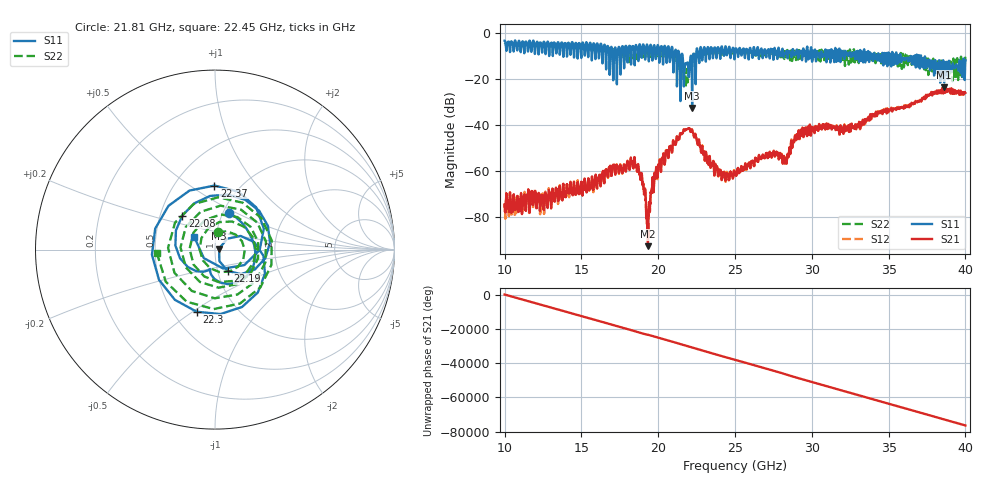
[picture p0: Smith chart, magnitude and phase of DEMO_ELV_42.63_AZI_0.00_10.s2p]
! 11/3/2026 12:50:57 PM
! C:\ANRITSUVNA\TEMP\TEMP.S2P
! CHANNEL.1
! TR.MEASUREMENT
! RAW.DATA
# HZ S RI R 50.0
! FREQ.HZ  S11RE  S11IM  S21RE  S21IM  S12RE  S12IM  S22RE  S22IM
!; PortSelection: Port_12
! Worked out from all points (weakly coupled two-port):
!   3001 points, 10 GHz to 40 GHz, reference 50 ohm
!   highest |S21| = -23.56 dB at 38.62 GHz (marker M1); lowest = -92.7 dB at 19.33 GHz (marker M2)
!   lowest |S11| = -32.5 dB at 22.21 GHz (marker M3), VSWR 1.05, Z = 52.3 + j0.603 ohm
!   |S11| at or under -10 dB: 21.59 GHz to 22.11 GHz (519.3 MHz wide, 2.38 % of centre); 35.78 GHz to 36.45 GHz (666.7 MHz wide, 1.85 % of centre); 37.12 GHz to end of sweep (the widest 3 of 108)
!   |S22| runs from -23.4 to -4.5 dB; largest |S21 - S12| = 0.082
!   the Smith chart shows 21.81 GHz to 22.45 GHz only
!   S11 on the Smith chart (normalised r, x): 21.81 GHz: 1.06, +0.46; 22.08 GHz: 0.65, +0.27; 22.19 GHz: 1.12, -0.27; 22.3 GHz: 0.65, -0.52; 22.37 GHz: 0.77, +0.63; 22.45 GHz: 0.79, +0.11
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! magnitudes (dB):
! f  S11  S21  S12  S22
! 10 GHz  -3.2  -75.4  -74.0  -4.7
! 15 GHz  -9.9  -65.1  -64.7  -6.4
! 17.19 GHz  -6.2  -60.9  -61.3  -7.8
! 18.34 GHz  -5.5  -57.3  -57.5  -12.0
! 18.82 GHz  -5.1  -62.3  -61.8  -8.3
! 19.33 GHz  -6.5  -92.7  -82.8  -7.3
! 20 GHz  -5.4  -58.6  -58.6  -7.3
! 21.81 GHz  -13.2  -41.7  -41.7  -20.2
! 22.08 GHz  -11.6  -42.4  -42.1  -15.2
! 22.19 GHz  -17.2  -41.8  -41.9  -14.3
! 22.21 GHz  -32.5  -42.0  -42.1  -12.9
! 22.3 GHz  -8.9  -44.0  -44.1  -11.6
! 22.37 GHz  -9.0  -44.9  -45.0  -10.1
! 22.45 GHz  -17.4  -44.8  -44.8  -9.8
! 23.78 GHz  -10.0  -59.3  -59.3  -9.4
! 25 GHz  -7.6  -60.7  -60.9  -8.3
! 28.23 GHz  -8.5  -56.4  -56.3  -9.9
! 29.02 GHz  -7.1  -44.0  -44.0  -8.1
! 30 GHz  -10.3  -40.7  -40.8  -8.0
! 35 GHz  -8.5  -33.9  -33.8  -11.0
! 38.62 GHz  -21.4  -23.6  -23.4  -16.8
! 40 GHz  -11.7  -26.0  -26.0  -12.3
